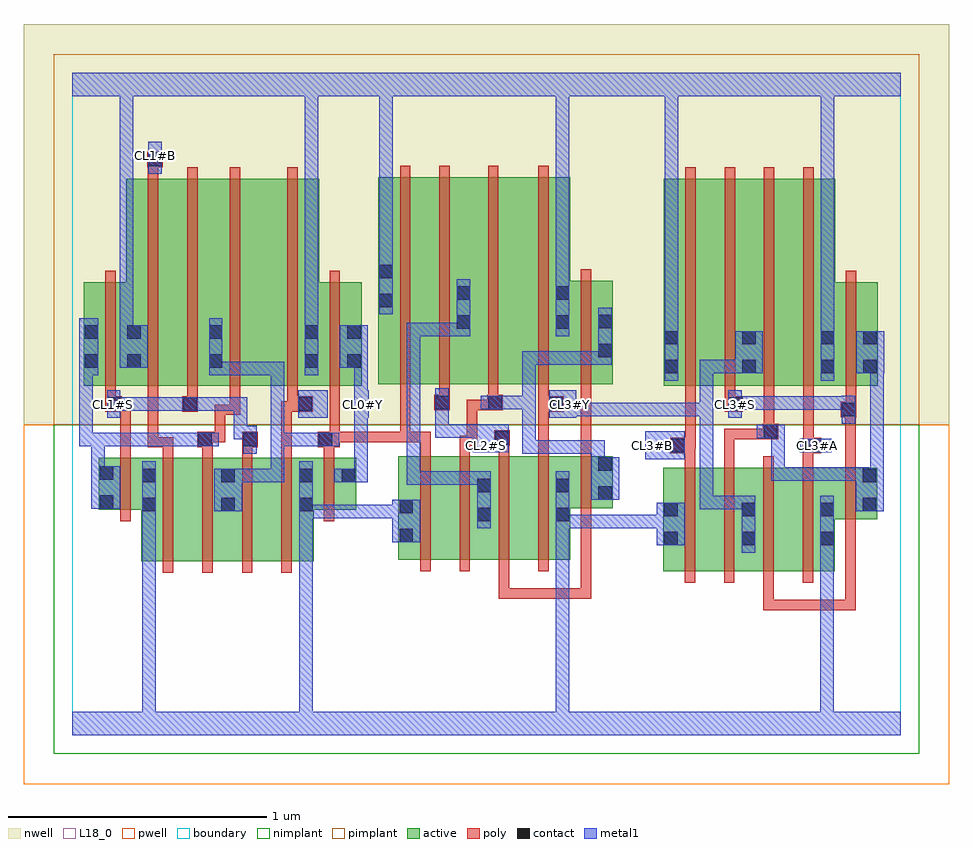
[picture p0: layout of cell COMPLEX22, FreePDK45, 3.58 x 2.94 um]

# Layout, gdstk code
import gdstk
lib = gdstk.Library(unit=1e-6, precision=1e-09)
def R(c, l, rs):  # rectangles x0, y0, x1, y1
    for r in rs: c.add(gdstk.rectangle(r[:2], r[2:], *l))
def A(c, l, x, y, w, h, nx, ny, dx, dy):  # array of equal rectangles
    R(c, l, [(x+i*dx, y+j*dy, x+i*dx+w, y+j*dy+h) for i in range(nx) for j in range(ny)])
active = (1, 0)
pwell = (2, 0)
nwell = (3, 0)
nimplant = (4, 0)
pimplant = (5, 0)
poly = (9, 0)
contact = (10, 0)
metal1 = (11, 0)
L18_0 = (18, 0)
boundary = (235, 0)

complex22 = lib.new_cell('COMPLEX22')
R(complex22, active, [(2.282,0.634,2.462,1.034), (2.462,0.634,2.642,1.034), (2.582,0.634,2.766,1.034), (2.766,0.634,2.946,1.034), (2.886,0.634,2.946,0.902), (0.266,0.672,0.446,1.072), (0.266,0.672,0.326,1.034), (0.446,0.672,0.632,1.072), (0.572,0.672,0.752,1.072), (0.752,0.672,0.932,1.072), (0.872,0.672,0.932,1.034), (1.26,0.678,1.44,1.078), (1.44,0.678,1.62,1.078), (1.56,0.678,1.744,1.078), (1.744,0.678,1.924,1.078), (1.864,0.678,1.924,0.996), (2.282,0.73,2.342,1.034), (2.582,0.73,2.642,0.902), (1.26,0.742,1.32,1.078), (0.572,0.756,0.632,1.034), (1.56,0.756,1.62,0.996), (2.886,0.834,3.11,1.034), (3.05,0.862,3.11,1.034), (0.102,0.872,0.326,1.072), (0.102,0.872,0.162,1.072), (0.872,0.872,1.096,1.072), (1.864,0.878,2.088,1.078), (2.028,0.906,2.088,1.078), (1.036,0.956,1.096,1.072), (0.044,1.35,0.268,1.75), (0.044,1.35,0.104,1.644), (0.208,1.35,0.268,1.644), (0.208,1.35,0.388,2.15), (0.388,1.35,0.584,2.15), (0.524,1.35,0.704,2.15), (0.524,1.35,0.584,2.044), (0.704,1.35,0.954,2.15), (0.894,1.35,1.118,1.75), (0.894,1.35,0.954,1.644), (1.058,1.35,1.118,1.75), (2.284,1.35,2.464,2.15), (2.284,1.35,2.344,2.044), (2.464,1.35,2.644,2.15), (2.584,1.35,2.768,2.15), (2.584,1.35,2.644,2.044), (2.768,1.35,2.948,2.15), (2.888,1.35,3.112,1.75), (2.888,1.35,2.948,1.644), (3.052,1.35,3.112,1.75), (1.182,1.356,1.362,2.156), (1.182,1.356,1.242,2.044), (1.362,1.356,1.542,2.156), (1.482,1.356,1.702,2.156), (1.482,1.356,1.542,2.044), (1.702,1.356,1.924,2.156), (1.864,1.356,2.088,1.756), (1.864,1.356,1.924,1.738), (2.028,1.356,2.088,1.756)])
R(complex22, pwell, [(-0.188,-0.188,3.388,1.2)])
R(complex22, nwell, [(-0.188,1.2,3.388,2.748)])
R(complex22, nimplant, [(-0.072,-0.072,3.272,1.2)])
R(complex22, pimplant, [(-0.072,1.2,3.272,2.632)])
A(complex22, poly, 2.366, 0.59, 0.04, 0.488, 4, 1, 0.152, 0)
A(complex22, poly, 1.344, 0.634, 0.04, 0.488, 4, 1, 0.152, 0)
A(complex22, poly, 2.368, 1.306, 0.04, 0.888, 4, 1, 0.152, 0)
R(complex22, poly, [(2.67,0.484,2.71,0.524), (2.67,0.484,2.902,0.524), (2.67,0.484,2.71,0.63), (2.862,0.484,2.902,0.524), (2.862,0.484,2.902,0.524), (2.862,0.484,2.902,0.524), (2.862,0.484,3.026,0.524), (2.986,0.484,3.026,0.524), (2.986,0.484,3.026,0.524), (2.986,0.484,3.026,0.524), (2.986,0.484,3.026,0.524), (2.986,0.484,3.026,0.524), (2.986,0.484,3.026,0.524), (2.986,0.484,3.026,0.524), (2.986,0.484,3.026,0.83), (1.648,0.528,1.688,0.568), (1.648,0.528,1.688,0.674), (1.648,0.528,1.794,0.568), (1.754,0.528,1.794,0.568), (1.754,0.528,1.794,0.568), (1.754,0.528,1.794,0.568), (1.754,0.528,2.004,0.568), (1.964,0.528,2.004,0.568), (1.964,0.528,2.004,0.568), (1.964,0.528,2.004,0.568), (1.964,0.528,2.004,0.568), (1.964,0.528,2.004,0.568), (1.964,0.528,2.004,0.568), (1.964,0.528,2.004,0.568), (1.964,0.528,2.004,0.874), (0.35,0.628,0.39,1.116), (0.502,0.628,0.542,1.116), (0.656,0.628,0.696,1.116), (0.808,0.628,0.848,1.116), (2.986,0.79,3.026,1.078), (0.186,0.828,0.226,1.116), (0.972,0.828,1.012,1.116), (1.964,0.834,2.004,1.122), (2.366,1.038,2.406,1.13), (2.518,1.038,2.558,1.184), (2.822,1.038,2.862,1.13), (2.986,1.038,3.026,1.268), (0.186,1.076,0.226,1.29), (0.35,1.076,0.39,1.152), (0.502,1.076,0.542,1.152), (0.656,1.076,0.696,1.152), (0.808,1.076,0.848,1.29), (0.972,1.076,1.012,1.152), (1.344,1.082,1.384,1.172), (1.496,1.082,1.536,1.158), (1.648,1.082,1.688,1.158), (1.8,1.082,1.84,1.29), (1.964,1.082,2.004,1.158), (2.31,1.09,2.406,1.15), (2.822,1.09,2.894,1.15), (2.366,1.11,2.406,1.15), (2.366,1.11,2.408,1.15), (2.368,1.11,2.408,1.346), (2.824,1.11,2.864,1.15), (2.824,1.11,2.864,1.15), (2.824,1.11,2.864,1.346), (0.292,1.112,0.332,1.152), (0.292,1.112,0.332,1.152), (0.292,1.112,0.332,1.346), (0.292,1.112,0.39,1.152), (0.482,1.112,0.542,1.172), (0.656,1.112,0.716,1.172), (0.948,1.112,1.034,1.172), (1.496,1.118,1.536,1.158), (1.496,1.118,1.564,1.158), (1.524,1.118,1.564,1.158), (1.524,1.118,1.564,1.296), (1.63,1.118,1.69,1.178), (1.964,1.118,2.004,1.158), (1.964,1.118,2.004,1.158), (1.964,1.118,2.004,1.158), (1.964,1.118,2.004,1.352), (0.502,1.132,0.59,1.172), (0.55,1.132,0.59,1.172), (0.55,1.132,0.59,1.278), (0.994,1.132,1.034,1.172), (0.994,1.132,1.034,1.172), (0.994,1.132,1.034,1.172), (0.994,1.132,1.034,1.172), (0.994,1.132,1.306,1.172), (0.994,1.132,1.034,1.346), (1.266,1.132,1.306,1.172), (1.266,1.132,1.306,1.172), (1.266,1.132,1.306,1.352), (1.266,1.132,1.332,1.172), (1.292,1.132,1.332,1.172), (1.292,1.132,1.384,1.172), (2.518,1.144,2.558,1.184), (2.518,1.144,2.708,1.184), (2.668,1.144,2.708,1.184), (2.668,1.144,2.708,1.184), (2.668,1.144,2.728,1.204), (2.672,1.164,2.712,1.204), (2.672,1.164,2.712,1.204), (2.672,1.164,2.712,1.346), (2.968,1.228,3.028,1.288), (2.986,1.228,3.026,1.268), (2.986,1.228,3.026,1.268), (0.55,1.238,0.59,1.278), (0.55,1.238,0.648,1.278), (0.608,1.238,0.648,1.278), (0.608,1.238,0.648,1.346), (2.988,1.248,3.028,1.346), (0.128,1.25,0.19,1.31), (0.15,1.25,0.19,1.29), (0.15,1.25,0.226,1.29), (0.424,1.25,0.484,1.31), (0.808,1.25,0.87,1.29), (0.83,1.25,0.87,1.29), (0.83,1.25,0.928,1.31), (1.8,1.25,1.84,1.29), (1.8,1.25,1.84,1.29), (1.8,1.25,1.898,1.31), (2.52,1.25,2.59,1.31), (1.398,1.256,1.458,1.316), (1.524,1.256,1.564,1.296), (1.524,1.256,1.642,1.296), (1.602,1.256,1.662,1.316), (0.128,1.27,0.168,1.346), (0.444,1.27,0.484,1.346), (0.83,1.27,0.87,1.346), (1.8,1.27,1.84,1.352), (2.52,1.27,2.56,1.346), (1.418,1.276,1.458,1.352), (1.606,1.276,1.646,1.352), (0.128,1.306,0.168,1.794), (0.292,1.306,0.332,2.194), (0.444,1.306,0.484,2.194), (0.608,1.306,0.648,2.194), (0.83,1.306,0.87,2.194), (0.994,1.306,1.034,1.794), (2.988,1.306,3.028,1.794), (1.266,1.312,1.306,2.2), (1.418,1.312,1.458,2.2), (1.606,1.312,1.646,2.2), (1.8,1.312,1.84,2.2), (1.964,1.312,2.004,1.8), (0.292,2.154,0.332,2.234), (0.29,2.194,0.35,2.254)])
R(complex22, contact, [(2.286,0.734,2.338,0.786), (2.586,0.734,2.638,0.786), (2.89,0.734,2.942,0.786), (1.264,0.746,1.316,0.798), (1.564,0.828,1.616,0.88), (1.868,0.828,1.92,0.88), (2.286,0.846,2.338,0.898), (2.586,0.846,2.638,0.898), (2.89,0.846,2.942,0.898), (1.264,0.858,1.316,0.91), (0.27,0.866,0.322,0.918), (0.576,0.866,0.628,0.918), (0.876,0.866,0.928,0.918), (3.054,0.866,3.106,0.918), (0.106,0.876,0.158,0.928), (2.032,0.91,2.084,0.962), (1.564,0.94,1.616,0.992), (1.868,0.94,1.92,0.992), (0.27,0.978,0.322,1.03), (0.576,0.978,0.628,1.03), (0.876,0.978,0.928,1.03), (1.04,0.978,1.092,1.03), (3.054,0.978,3.106,1.03), (0.106,0.988,0.158,1.04), (2.032,1.022,2.084,1.074), (2.314,1.094,2.366,1.146), (2.838,1.094,2.89,1.146), (0.486,1.116,0.538,1.168), (0.66,1.116,0.712,1.168), (0.952,1.116,1.004,1.168), (1.634,1.122,1.686,1.174), (2.672,1.148,2.724,1.2), (2.972,1.232,3.024,1.284), (0.134,1.254,0.186,1.306), (0.428,1.254,0.48,1.306), (0.872,1.254,0.924,1.306), (1.842,1.254,1.894,1.306), (2.534,1.254,2.586,1.306), (1.402,1.26,1.454,1.312), (1.606,1.26,1.658,1.312), (2.288,1.398,2.34,1.45), (2.588,1.398,2.64,1.45), (2.892,1.398,2.944,1.45), (3.056,1.398,3.108,1.45), (0.048,1.42,0.1,1.472), (0.212,1.42,0.264,1.472), (0.528,1.42,0.58,1.472), (0.898,1.42,0.95,1.472), (1.062,1.42,1.114,1.472), (2.032,1.46,2.084,1.512), (2.288,1.51,2.34,1.562), (2.588,1.51,2.64,1.562), (2.892,1.51,2.944,1.562), (3.056,1.51,3.108,1.562), (0.048,1.532,0.1,1.584), (0.212,1.532,0.264,1.584), (0.528,1.532,0.58,1.584), (0.898,1.532,0.95,1.584), (1.062,1.532,1.114,1.584), (1.486,1.57,1.538,1.622), (1.868,1.57,1.92,1.622), (2.032,1.572,2.084,1.624), (1.186,1.654,1.238,1.706), (1.486,1.682,1.538,1.734), (1.868,1.682,1.92,1.734), (1.186,1.766,1.238,1.818), (0.294,2.198,0.346,2.25)])
A(complex22, metal1, 1.738, 1.088, 0.052, 0.052, 1, 3, 0, 0.172)
R(complex22, metal1, [(0,0,3.2,0.092), (0.27,0.04,0.322,0.092), (0.27,0.04,0.322,0.092), (0.27,0.04,0.322,0.092), (0.27,0.04,0.322,0.092), (0.27,0.04,0.322,0.092), (0.27,0.04,0.322,0.092), (0.27,0.04,0.322,0.092), (0.27,0.04,0.322,0.092), (0.27,0.04,0.322,0.092), (0.27,0.04,0.322,0.092), (0.27,0.04,0.322,0.092), (0.27,0.04,0.322,0.092), (0.27,0.04,0.322,0.89), (0.876,0.04,0.928,0.092), (0.876,0.04,0.928,0.092), (0.876,0.04,0.928,0.092), (0.876,0.04,0.928,0.092), (0.876,0.04,0.928,0.092), (0.876,0.04,0.928,0.092), (0.876,0.04,0.928,0.092), (0.876,0.04,0.928,0.092), (0.876,0.04,0.928,0.092), (0.876,0.04,0.928,0.092), (0.876,0.04,0.928,0.89), (1.868,0.04,1.92,0.092), (1.868,0.04,1.92,0.092), (1.868,0.04,1.92,0.092), (1.868,0.04,1.92,0.092), (1.868,0.04,1.92,0.092), (1.868,0.04,1.92,0.092), (1.868,0.04,1.92,0.092), (1.868,0.04,1.92,0.092), (1.868,0.04,1.92,0.092), (1.868,0.04,1.92,0.092), (1.868,0.04,1.92,0.092), (1.868,0.04,1.92,0.092), (1.868,0.04,1.92,0.852), (2.89,0.04,2.942,0.092), (2.89,0.04,2.942,0.092), (2.89,0.04,2.942,0.092), (2.89,0.04,2.942,0.092), (2.89,0.04,2.942,0.092), (2.89,0.04,2.942,0.092), (2.89,0.04,2.942,0.092), (2.89,0.04,2.942,0.092), (2.89,0.04,2.942,0.758), (2.586,0.706,2.638,0.926), (2.89,0.706,2.942,0.758), (2.89,0.706,2.942,0.758), (2.89,0.706,2.942,0.758), (2.89,0.706,2.942,0.758), (2.89,0.706,2.942,0.926), (2.258,0.734,2.366,0.898), (1.236,0.746,1.344,0.91), (1.564,0.8,1.616,1.02), (1.868,0.8,1.92,1.02), (1.868,0.8,2.056,0.852), (2.004,0.8,2.056,0.852), (2.004,0.8,2.056,0.852), (2.004,0.8,2.056,0.852), (2.004,0.8,2.31,0.852), (0.27,0.838,0.322,1.058), (0.876,0.838,0.928,0.89), (0.876,0.838,0.928,0.89), (0.876,0.838,0.928,1.058), (0.876,0.838,1.038,0.89), (0.986,0.838,1.038,0.89), (0.986,0.838,1.038,0.89), (0.986,0.838,1.038,0.89), (0.986,0.838,1.288,0.89), (0.548,0.866,0.656,1.03), (3.026,0.866,3.134,1.03), (2.424,0.874,2.476,0.926), (2.424,0.874,2.476,0.926), (2.424,0.874,2.476,0.926), (2.424,0.874,2.638,0.926), (2.424,0.874,2.476,1.284), (0.074,0.876,0.186,1.04), (2.004,0.91,2.112,1.074), (1.292,0.968,1.344,1.02), (1.292,0.968,1.344,1.02), (1.292,0.968,1.344,1.02), (1.292,0.968,1.344,1.02), (1.292,0.968,1.344,1.02), (1.292,0.968,1.616,1.02), (1.292,0.968,1.344,1.594), (0.604,0.978,0.676,1.03), (0.624,0.978,0.676,1.03), (0.624,0.978,0.818,1.03), (0.766,0.978,0.818,1.03), (0.766,0.978,0.818,1.168), (1.012,0.978,1.142,1.03), (1.09,0.978,1.142,1.278), (3.026,0.978,3.078,1.03), (3.026,0.978,3.078,1.036), (3.082,0.978,3.134,1.45), (2.7,0.984,2.752,1.036), (2.7,0.984,2.914,1.036), (2.7,0.984,2.752,1.2), (2.862,0.984,2.914,1.036), (2.862,0.984,2.914,1.036), (2.862,0.984,2.914,1.036), (2.862,0.984,3.078,1.036), (0.074,0.988,0.126,1.168), (2.004,1.022,2.056,1.14), (2.214,1.066,2.366,1.174), (0.66,1.088,0.712,1.196), (1.738,1.088,1.9,1.14), (1.738,1.088,1.79,1.312), (1.848,1.088,1.9,1.14), (1.848,1.088,1.9,1.14), (1.848,1.088,1.9,1.14), (1.848,1.088,2.056,1.14), (2.004,1.088,2.056,1.14), (2.004,1.088,2.056,1.14), (2.004,1.088,2.056,1.14), (1.546,1.094,1.686,1.202), (2.81,1.094,2.934,1.146), (0.026,1.116,0.078,1.168), (0.026,1.116,0.078,1.168), (0.026,1.116,0.126,1.168), (0.026,1.116,0.078,1.444), (0.074,1.116,0.126,1.168), (0.074,1.116,0.126,1.168), (0.074,1.116,0.296,1.168), (0.244,1.116,0.296,1.168), (0.244,1.116,0.296,1.168), (0.244,1.116,0.296,1.168), (0.244,1.116,0.406,1.168), (0.354,1.116,0.406,1.168), (0.354,1.116,0.51,1.168), (0.458,1.116,0.566,1.168), (0.766,1.116,0.818,1.168), (0.766,1.116,0.818,1.168), (0.766,1.116,0.818,1.168), (0.766,1.116,0.822,1.168), (0.766,1.116,0.818,1.444), (0.77,1.116,0.822,1.168), (0.77,1.116,0.928,1.168), (0.876,1.116,0.928,1.168), (0.876,1.116,0.976,1.168), (0.924,1.116,1.032,1.168), (0.624,1.144,0.676,1.196), (0.624,1.144,0.712,1.196), (0.624,1.144,0.676,1.306), (2.644,1.148,2.752,1.2), (2.7,1.148,2.752,1.2), (2.7,1.148,2.752,1.2), (1.402,1.15,1.454,1.202), (1.402,1.15,1.598,1.202), (1.402,1.15,1.454,1.284), (2.972,1.204,3.024,1.312), (0.134,1.226,0.186,1.334), (0.872,1.226,0.986,1.334), (1.09,1.226,1.146,1.334), (1.842,1.226,1.946,1.334), (2.534,1.226,2.586,1.334), (1.402,1.232,1.454,1.284), (1.402,1.232,1.454,1.284), (1.402,1.232,1.454,1.34), (1.894,1.232,1.946,1.284), (1.894,1.232,1.946,1.284), (1.894,1.232,2.112,1.284), (2.06,1.232,2.112,1.284), (2.06,1.232,2.112,1.284), (2.06,1.232,2.112,1.284), (2.06,1.232,2.222,1.284), (2.17,1.232,2.222,1.284), (2.17,1.232,2.222,1.284), (2.17,1.232,2.222,1.284), (2.17,1.232,2.476,1.284), (2.424,1.232,2.476,1.284), (2.424,1.232,2.476,1.284), (2.424,1.232,2.476,1.284), (2.424,1.232,2.476,1.45), (0.134,1.254,0.296,1.306), (0.244,1.254,0.296,1.306), (0.244,1.254,0.296,1.306), (0.244,1.254,0.296,1.306), (0.244,1.254,0.452,1.306), (0.4,1.254,0.452,1.306), (0.4,1.254,0.452,1.306), (0.4,1.254,0.508,1.306), (0.456,1.254,0.676,1.306), (0.624,1.254,0.676,1.306), (2.534,1.258,2.586,1.31), (2.534,1.258,2.586,1.31), (2.534,1.258,2.752,1.31), (2.7,1.258,2.752,1.31), (2.7,1.258,2.752,1.31), (2.7,1.258,2.752,1.31), (2.7,1.258,2.862,1.31), (2.81,1.258,2.862,1.31), (2.81,1.258,2.862,1.31), (2.81,1.258,2.862,1.31), (2.81,1.258,3.024,1.31), (1.578,1.26,1.686,1.312), (1.634,1.26,1.79,1.312), (1.738,1.26,1.79,1.484), (1.09,1.282,1.142,1.334), (1.09,1.282,1.142,1.334), (1.09,1.282,1.142,1.472), (2.288,1.37,2.34,1.59), (2.892,1.37,2.944,1.59), (0.026,1.392,0.1,1.612), (0.528,1.392,0.58,1.612), (0.528,1.392,0.712,1.444), (0.66,1.392,0.712,1.444), (0.66,1.392,0.818,1.444), (0.766,1.392,0.818,1.444), (0.898,1.392,0.95,1.612), (2.424,1.398,2.476,1.45), (2.424,1.398,2.476,1.45), (2.424,1.398,2.476,1.45), (2.424,1.398,2.612,1.45), (2.56,1.398,2.668,1.562), (3.028,1.398,3.136,1.562), (3.082,1.398,3.134,1.45), (3.082,1.398,3.134,1.45), (3.082,1.398,3.134,1.45), (3.082,1.398,3.134,1.45), (0.184,1.42,0.292,1.584), (1.034,1.42,1.142,1.584), (1.738,1.432,1.946,1.484), (1.894,1.432,1.946,1.484), (1.894,1.432,1.946,1.484), (1.894,1.432,1.946,1.484), (1.894,1.432,2.084,1.484), (2.032,1.432,2.084,1.484), (2.032,1.432,2.084,1.484), (2.032,1.432,2.084,1.652), (0.184,1.532,0.236,2.52), (2.288,1.538,2.34,2.52), (2.892,1.538,2.944,2.52), (1.292,1.542,1.344,1.594), (1.292,1.542,1.344,1.594), (1.292,1.542,1.344,1.594), (1.292,1.542,1.344,1.594), (1.292,1.542,1.344,1.594), (1.292,1.542,1.538,1.594), (1.486,1.542,1.538,1.762), (1.868,1.542,1.92,1.762), (0.898,1.56,0.95,1.612), (0.898,1.56,0.95,1.612), (0.898,1.56,0.95,1.612), (0.898,1.56,0.95,1.612), (0.898,1.56,0.95,1.612), (0.898,1.56,0.95,1.612), (0.898,1.56,0.95,1.612), (0.898,1.56,0.95,1.612), (0.898,1.56,0.95,2.52), (1.186,1.626,1.238,1.846), (1.868,1.71,1.92,1.762), (1.868,1.71,1.92,1.762), (1.868,1.71,1.92,1.762), (1.868,1.71,1.92,1.762), (1.868,1.71,1.92,1.762), (1.868,1.71,1.92,1.762), (1.868,1.71,1.92,2.52), (1.186,1.794,1.238,1.846), (1.186,1.794,1.238,1.846), (1.186,1.794,1.238,1.846), (1.186,1.794,1.238,1.846), (1.186,1.794,1.238,1.846), (1.186,1.794,1.238,1.846), (1.186,1.794,1.238,1.846), (1.186,1.794,1.238,1.846), (1.186,1.794,1.238,2.52), (0.294,2.17,0.346,2.294), (0,2.468,3.2,2.56), (0.184,2.468,0.236,2.52), (0.184,2.468,0.236,2.52), (0.184,2.468,0.236,2.52), (0.184,2.468,0.236,2.52), (0.184,2.468,0.236,2.52), (0.184,2.468,0.236,2.52), (0.184,2.468,0.236,2.52), (0.184,2.468,0.236,2.52), (1.868,2.468,1.92,2.52), (1.868,2.468,1.92,2.52), (2.288,2.468,2.34,2.52), (2.288,2.468,2.34,2.52), (2.288,2.468,2.34,2.52), (2.288,2.468,2.34,2.52), (2.288,2.468,2.34,2.52), (2.288,2.468,2.34,2.52), (2.288,2.468,2.34,2.52), (2.288,2.468,2.34,2.52), (2.892,2.468,2.944,2.52), (2.892,2.468,2.944,2.52), (2.892,2.468,2.944,2.52), (2.892,2.468,2.944,2.52), (2.892,2.468,2.944,2.52), (2.892,2.468,2.944,2.52), (2.892,2.468,2.944,2.52), (2.892,2.468,2.944,2.52)])
A(complex22, L18_0, 1.574, 1.094, 0.052, 0.052, 3, 1, 0.64, 0)
R(complex22, L18_0, [(0,0,3.2,0.092), (0.27,0.04,0.322,0.092), (0.27,0.04,0.322,0.092), (0.27,0.04,0.322,0.092), (0.27,0.04,0.322,0.092), (0.27,0.04,0.322,0.092), (0.27,0.04,0.322,0.092), (0.27,0.04,0.322,0.092), (0.27,0.04,0.322,0.092), (0.27,0.04,0.322,0.092), (0.27,0.04,0.322,0.092), (0.27,0.04,0.322,0.092), (0.27,0.04,0.322,0.092), (0.27,0.04,0.322,0.89), (0.876,0.04,0.928,0.092), (0.876,0.04,0.928,0.092), (0.876,0.04,0.928,0.092), (0.876,0.04,0.928,0.092), (0.876,0.04,0.928,0.092), (0.876,0.04,0.928,0.092), (0.876,0.04,0.928,0.092), (0.876,0.04,0.928,0.092), (0.876,0.04,0.928,0.092), (0.876,0.04,0.928,0.092), (0.876,0.04,0.928,0.89), (1.868,0.04,1.92,0.092), (1.868,0.04,1.92,0.092), (1.868,0.04,1.92,0.092), (1.868,0.04,1.92,0.092), (1.868,0.04,1.92,0.092), (1.868,0.04,1.92,0.092), (1.868,0.04,1.92,0.092), (1.868,0.04,1.92,0.092), (1.868,0.04,1.92,0.092), (1.868,0.04,1.92,0.092), (1.868,0.04,1.92,0.092), (1.868,0.04,1.92,0.092), (1.868,0.04,1.92,0.852), (2.89,0.04,2.942,0.092), (2.89,0.04,2.942,0.092), (2.89,0.04,2.942,0.092), (2.89,0.04,2.942,0.092), (2.89,0.04,2.942,0.092), (2.89,0.04,2.942,0.092), (2.89,0.04,2.942,0.092), (2.89,0.04,2.942,0.092), (2.89,0.04,2.942,0.758), (2.586,0.706,2.638,0.926), (2.89,0.706,2.942,0.758), (2.89,0.706,2.942,0.758), (2.89,0.706,2.942,0.758), (2.89,0.706,2.942,0.758), (2.89,0.706,2.942,0.926), (2.258,0.734,2.366,0.898), (1.236,0.746,1.344,0.91), (1.868,0.8,1.92,1.02), (1.868,0.8,2.056,0.852), (2.004,0.8,2.056,0.852), (2.004,0.8,2.056,0.852), (2.004,0.8,2.056,0.852), (2.004,0.8,2.31,0.852), (0.27,0.838,0.322,1.058), (0.876,0.838,0.928,0.89), (0.876,0.838,0.928,0.89), (0.876,0.838,0.928,1.058), (0.876,0.838,1.038,0.89), (0.986,0.838,1.038,0.89), (0.986,0.838,1.038,0.89), (0.986,0.838,1.038,0.89), (0.986,0.838,1.288,0.89), (2.424,0.874,2.476,0.926), (2.424,0.874,2.476,0.926), (2.424,0.874,2.476,0.926), (2.424,0.874,2.476,1.284), (2.424,0.874,2.638,0.926), (1.012,0.978,1.142,1.03), (1.09,0.978,1.142,1.278), (2.214,1.066,2.366,1.174), (0.66,1.088,0.712,1.196), (1.546,1.094,1.686,1.202), (2.81,1.094,2.934,1.146), (0.624,1.144,0.676,1.196), (0.624,1.144,0.676,1.306), (0.624,1.144,0.712,1.196), (1.402,1.15,1.454,1.202), (1.402,1.15,1.454,1.284), (1.402,1.15,1.598,1.202), (2.972,1.204,3.024,1.312), (0.134,1.226,0.186,1.334), (0.872,1.226,0.986,1.334), (1.09,1.226,1.146,1.334), (1.842,1.226,1.946,1.334), (2.534,1.226,2.586,1.334), (1.402,1.232,1.454,1.34), (1.402,1.232,1.454,1.284), (1.402,1.232,1.454,1.284), (1.894,1.232,1.946,1.284), (1.894,1.232,1.946,1.284), (1.894,1.232,2.112,1.284), (2.06,1.232,2.112,1.284), (2.06,1.232,2.112,1.284), (2.06,1.232,2.112,1.284), (2.06,1.232,2.222,1.284), (2.17,1.232,2.222,1.284), (2.17,1.232,2.222,1.284), (2.17,1.232,2.222,1.284), (2.17,1.232,2.476,1.284), (2.424,1.232,2.476,1.284), (2.424,1.232,2.476,1.284), (2.424,1.232,2.476,1.284), (2.424,1.232,2.476,1.45), (0.134,1.254,0.186,1.306), (0.134,1.254,0.296,1.306), (0.244,1.254,0.296,1.306), (0.244,1.254,0.296,1.306), (0.244,1.254,0.296,1.306), (0.244,1.254,0.452,1.306), (0.4,1.254,0.452,1.306), (0.4,1.254,0.452,1.306), (0.4,1.254,0.508,1.306), (0.456,1.254,0.676,1.306), (0.624,1.254,0.676,1.306), (0.934,1.254,0.986,1.306), (1.094,1.254,1.146,1.306), (1.894,1.254,1.946,1.306), (2.534,1.254,2.586,1.306), (2.534,1.258,2.586,1.31), (2.534,1.258,2.586,1.31), (2.534,1.258,2.752,1.31), (2.7,1.258,2.752,1.31), (2.7,1.258,2.752,1.31), (2.7,1.258,2.752,1.31), (2.7,1.258,2.862,1.31), (2.81,1.258,2.862,1.31), (2.81,1.258,2.862,1.31), (2.81,1.258,2.862,1.31), (2.81,1.258,3.024,1.31), (1.09,1.282,1.142,1.334), (1.09,1.282,1.142,1.334), (1.09,1.282,1.142,1.472), (2.288,1.37,2.34,1.59), (2.892,1.37,2.944,1.59), (0.898,1.392,0.95,1.612), (2.424,1.398,2.476,1.45), (2.424,1.398,2.476,1.45), (2.424,1.398,2.476,1.45), (2.424,1.398,2.612,1.45), (2.56,1.398,2.668,1.562), (0.184,1.42,0.292,1.584), (1.034,1.42,1.142,1.584), (0.184,1.532,0.236,2.52), (2.288,1.538,2.34,2.52), (2.892,1.538,2.944,2.52), (1.868,1.542,1.92,1.762), (0.898,1.56,0.95,1.612), (0.898,1.56,0.95,1.612), (0.898,1.56,0.95,1.612), (0.898,1.56,0.95,1.612), (0.898,1.56,0.95,1.612), (0.898,1.56,0.95,1.612), (0.898,1.56,0.95,1.612), (0.898,1.56,0.95,1.612), (0.898,1.56,0.95,2.52), (1.186,1.626,1.238,1.846), (1.868,1.71,1.92,1.762), (1.868,1.71,1.92,1.762), (1.868,1.71,1.92,1.762), (1.868,1.71,1.92,1.762), (1.868,1.71,1.92,1.762), (1.868,1.71,1.92,1.762), (1.868,1.71,1.92,2.52), (1.186,1.794,1.238,1.846), (1.186,1.794,1.238,1.846), (1.186,1.794,1.238,1.846), (1.186,1.794,1.238,1.846), (1.186,1.794,1.238,1.846), (1.186,1.794,1.238,1.846), (1.186,1.794,1.238,1.846), (1.186,1.794,1.238,1.846), (1.186,1.794,1.238,2.52), (0.294,2.17,0.346,2.294), (0.294,2.214,0.346,2.266), (0,2.468,3.2,2.56), (0.184,2.468,0.236,2.52), (0.184,2.468,0.236,2.52), (0.184,2.468,0.236,2.52), (0.184,2.468,0.236,2.52), (0.184,2.468,0.236,2.52), (0.184,2.468,0.236,2.52), (0.184,2.468,0.236,2.52), (0.184,2.468,0.236,2.52), (1.868,2.468,1.92,2.52), (1.868,2.468,1.92,2.52), (2.288,2.468,2.34,2.52), (2.288,2.468,2.34,2.52), (2.288,2.468,2.34,2.52), (2.288,2.468,2.34,2.52), (2.288,2.468,2.34,2.52), (2.288,2.468,2.34,2.52), (2.288,2.468,2.34,2.52), (2.288,2.468,2.34,2.52), (2.892,2.468,2.944,2.52), (2.892,2.468,2.944,2.52), (2.892,2.468,2.944,2.52), (2.892,2.468,2.944,2.52), (2.892,2.468,2.944,2.52), (2.892,2.468,2.944,2.52), (2.892,2.468,2.944,2.52), (2.892,2.468,2.944,2.52)])
R(complex22, boundary, [(0,0,3.2,2.56)])
complex22.add(gdstk.Label('CL0#Y', (1.12,1.28), layer=11, texttype=0))
complex22.add(gdstk.Label('CL1#A', (0.96,1.28), layer=11, texttype=0))
complex22.add(gdstk.Label('CL1#B', (0.32,2.24), layer=11, texttype=0))
complex22.add(gdstk.Label('CL1#S', (0.16,1.28), layer=11, texttype=0))
complex22.add(gdstk.Label('CL2#S', (1.6,1.12), layer=11, texttype=0))
complex22.add(gdstk.Label('CL3#A', (2.88,1.12), layer=11, texttype=0))
complex22.add(gdstk.Label('CL3#B', (2.24,1.12), layer=11, texttype=0))
complex22.add(gdstk.Label('CL3#S', (2.56,1.28), layer=11, texttype=0))
complex22.add(gdstk.Label('CL3#Y', (1.92,1.28), layer=11, texttype=0))

lib.write_gds('COMPLEX22.gds')
